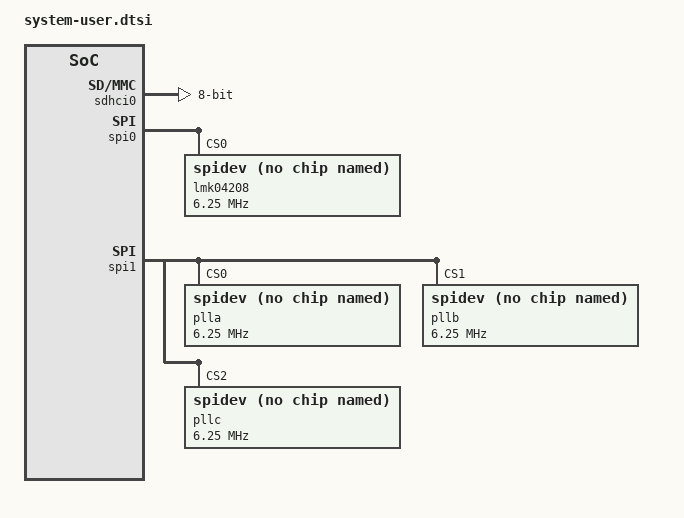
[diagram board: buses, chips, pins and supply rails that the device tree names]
/include/ "system-conf.dtsi"
/ {
	chosen {
		bootargs = "earlycon clk_ignore_unused root=/dev/mmcblk1p2 rw rootwait cpuidle.off=1 console=ttyPS0,115200";
		stdout-path = "serial0:115200n8";
	};
};

&flash0 {
        compatible = "micron,mt25qu512a","jedec,spi-nor";
        spi-max-frequency = <40000000>;
        reg = <0x0>;
        #address-cells = <1>;
        #size-cells = <1>;
};

&sdhci0 {
//      no-1-8-v;
        bus-width = <8>;
        cap-mmc-highspeed;
        mmc-hs200-1_8v;
};

&sdhci1 {
        no-1-8-v;
};

&spi0 {
        #address-cells = <0x1>;
        #size-cells = <0x0>;
        /* Use the compatible "rohm,dh2228fv" to trigger spidev without kernel error. */
        lmk04208: spi@0 {
                compatible = "rohm,dh2228fv";
                reg = <0>;
                spi-max-frequency = <6250000>;
        };
};

&spi1 {
        #address-cells = <0x1>;
        #size-cells = <0x0>;
        /* Use the compatible "rohm,dh2228fv" to trigger spidev without kernel error.*/
        plla: spi@0 {
                compatible = "rohm,dh2228fv";
                reg = <0>;
                spi-max-frequency = <6250000>;
        };
        pllb: spi@1 {
                compatible = "rohm,dh2228fv";
                reg = <1>;
                spi-max-frequency = <6250000>;
        };
        pllc: spi@2 {
                compatible = "rohm,dh2228fv";
                reg = <2>;
                spi-max-frequency = <6250000>;
        };
};
